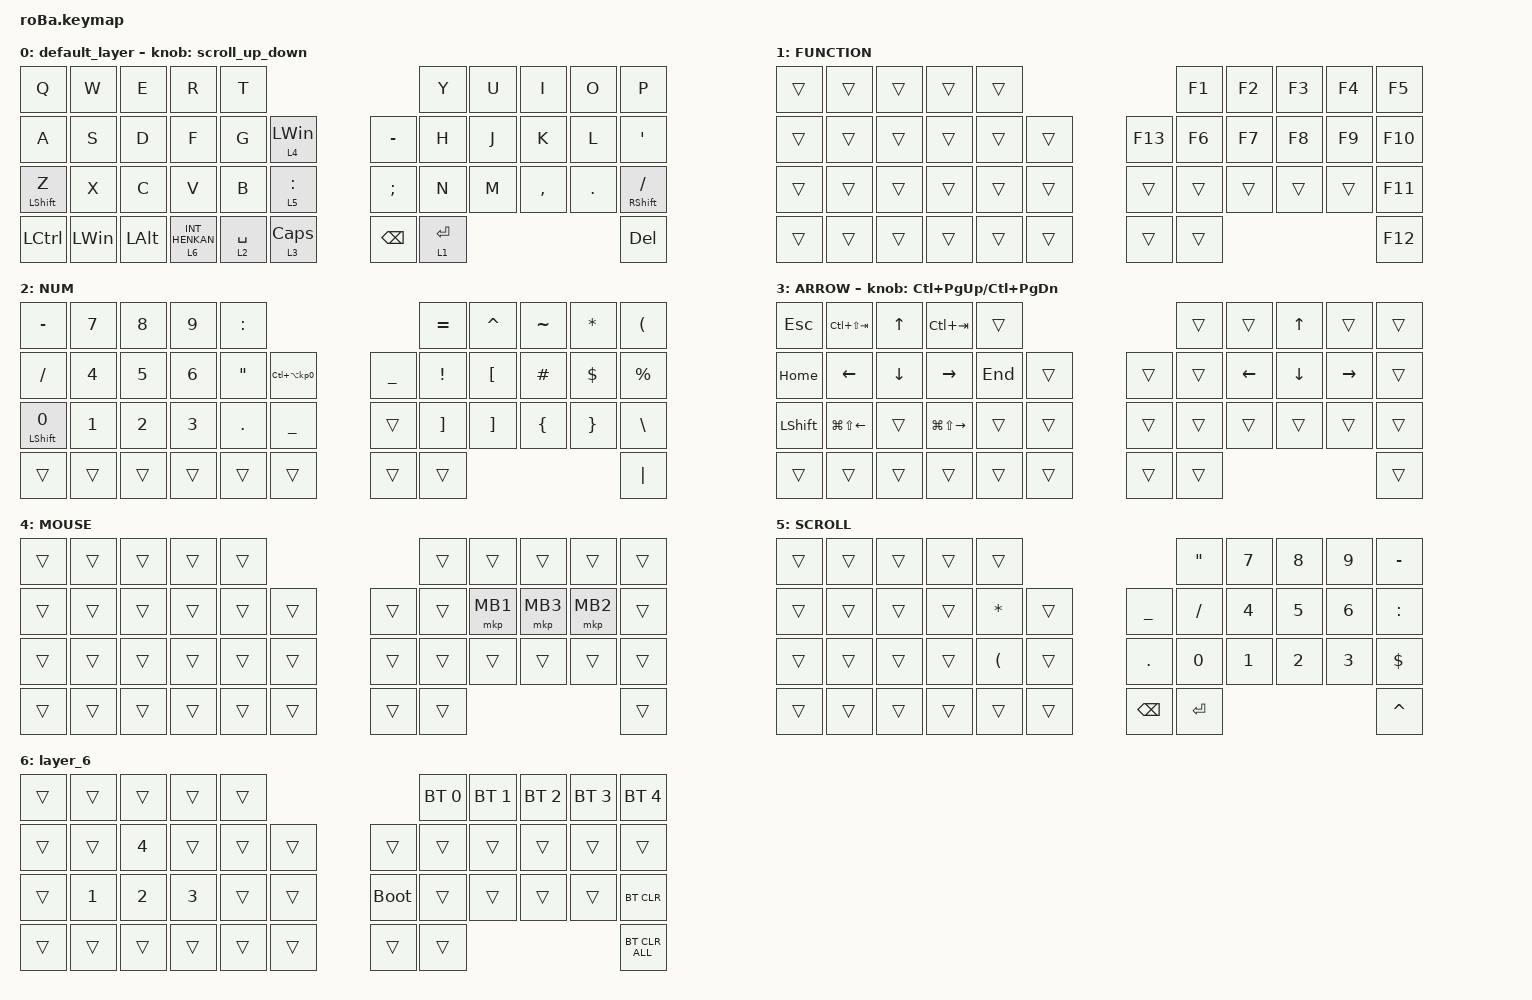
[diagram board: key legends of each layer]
#include <behaviors.dtsi>
#include <dt-bindings/zmk/bt.h>
#include <dt-bindings/zmk/keys.h>
#include <dt-bindings/zmk/pointing.h>

#define ZMK_POINTING_DEFAULT_SCRL_VAL 100
#define MOUSE 4
#define SCROLL 5
#define NUM 6

&mt {
    flavor = "balanced";
    quick-tap-ms = <0>;
};

/ {
    combos {
        compatible = "zmk,combos";

        tab {
            bindings = <&kp TAB>;
            key-positions = <11 12>;
        };

        shift_tab {
            bindings = <&kp LS(TAB)>;
            key-positions = <12 13>;
        };

        muhennkann {
            bindings = <&to_layer_0 INT_MUHENKAN>;
            key-positions = <11 10>;
        };

        double_quotation {
            bindings = <&kp DOUBLE_QUOTES>;
            key-positions = <20 21>;
        };

        eq {
            bindings = <&kp EQUAL>;
            key-positions = <24 25>;
        };
    };

    macros {
        to_layer_0: to_layer_0 {
            compatible = "zmk,behavior-macro-one-param";
            #binding-cells = <1>;
            bindings = <&to 0 &macro_param_1to1 &kp MACRO_PLACEHOLDER>;
            label = "TO_LAYER_0";
        };
    };

    behaviors {
        lt_to_layer_0: lt_to_layer_0 {
            compatible = "zmk,behavior-hold-tap";
            label = "LAYER_TAP_TO_0";
            bindings = <&mo>, <&to_layer_0>;

            #binding-cells = <2>;
            tapping-term-ms = <200>;
        };

        scroll_up_down: behavior_sensor_rotate_mouse_wheel_up_down {
            compatible = "zmk,behavior-sensor-rotate";
            #sensor-binding-cells = <0>;
            bindings = <&msc SCRL_UP>, <&msc SCRL_DOWN>;

            // 追加: スクロールのタップ時間を設定 (20ms)

            tap-ms = <20>;
        };
    };

    keymap {
        compatible = "zmk,keymap";

        default_layer {
            bindings = <
&kp Q             &kp W         &kp E         &kp R                        &kp T                                                      &kp Y        &kp U  &kp I      &kp O    &kp P
&kp A             &kp S         &kp D         &kp F                        &kp G        &lt 4 LWIN                     &kp MINUS      &kp H        &kp J  &kp K      &kp L    &kp SQT
&mt LEFT_SHIFT Z  &kp X         &kp C         &kp V                        &kp B        &lt 5 COLON                    &kp SEMICOLON  &kp N        &kp M  &kp COMMA  &kp DOT  &mt RSHFT SLASH
&kp LCTRL         &kp LEFT_WIN  &kp LEFT_ALT  &lt_to_layer_0 6 INT_HENKAN  &lt 2 SPACE  &lt_to_layer_0 3 CAPSLOCK      &kp BACKSPACE  &lt 1 ENTER                             &kp DEL
            >;

            sensor-bindings = <&scroll_up_down>;
        };

        FUNCTION {
            bindings = <
&trans  &trans  &trans  &trans  &trans                       &kp F1  &kp F2  &kp F3  &kp F4  &kp F5
&trans  &trans  &trans  &trans  &trans  &trans      &kp F13  &kp F6  &kp F7  &kp F8  &kp F9  &kp F10
&trans  &trans  &trans  &trans  &trans  &trans      &trans   &trans  &trans  &trans  &trans  &kp F11
&trans  &trans  &trans  &trans  &trans  &trans      &trans   &trans                          &kp F12
            >;
        };

        NUM {
            bindings = <
&kp MINUS                &kp N7        &kp NUMBER_8  &kp NUMBER_9  &kp COLON                                                       &kp EQUAL          &kp CARET          &kp TILDE       &kp ASTRK        &kp LEFT_PARENTHESIS
&kp SLASH                &kp NUMBER_4  &kp N5        &kp NUMBER_6  &kp DOUBLE_QUOTES  &kp LC(LA(KP_NUMBER_0))      &kp UNDERSCORE  &kp EXCLAMATION    &kp LEFT_BRACKET   &kp HASH        &kp DOLLAR       &kp PERCENT
&mt LEFT_SHIFT NUMBER_0  &kp NUMBER_1  &kp NUMBER_2  &kp NUMBER_3  &kp PERIOD         &kp UNDERSCORE               &trans          &kp RIGHT_BRACKET  &kp RIGHT_BRACKET  &kp LEFT_BRACE  &kp RIGHT_BRACE  &kp BACKSLASH
&trans                   &trans        &trans        &trans        &trans             &trans                       &trans          &trans                                                                 &kp PIPE
            >;
        };

        ARROW {
            bindings = <
&kp ESCAPE      &kp LC(LS(TAB))         &kp UP_ARROW    &kp LC(TAB)              &trans                       &trans  &trans    &kp UP_ARROW  &trans     &trans
&kp HOME        &kp LEFT_ARROW          &kp DOWN_ARROW  &kp RIGHT_ARROW          &kp END  &trans      &trans  &trans  &kp LEFT  &kp DOWN      &kp RIGHT  &trans
&kp LEFT_SHIFT  &kp LG(LS(LEFT_ARROW))  &trans          &kp LG(LS(RIGHT_ARROW))  &trans   &trans      &trans  &trans  &trans    &trans        &trans     &trans
&trans          &trans                  &trans          &trans                   &trans   &trans      &trans  &trans                                     &trans
            >;

            sensor-bindings = <&inc_dec_kp LC(PAGE_UP) LC(PAGE_DOWN)>;
        };

        MOUSE {
            bindings = <
&trans  &trans  &trans  &trans  &trans                      &trans  &trans    &trans    &trans    &trans
&trans  &trans  &trans  &trans  &trans  &trans      &trans  &trans  &mkp MB1  &mkp MB3  &mkp MB2  &trans
&trans  &trans  &trans  &trans  &trans  &trans      &trans  &trans  &trans    &trans    &trans    &trans
&trans  &trans  &trans  &trans  &trans  &trans      &trans  &trans                                &trans
            >;
        };

        SCROLL {
            bindings = <
&trans  &trans  &trans  &trans  &trans                                            &kp DOUBLE_QUOTES  &kp NUMBER_7  &kp NUMBER_8  &kp NUMBER_9  &kp MINUS
&trans  &trans  &trans  &trans  &kp ASTRK             &trans      &kp UNDERSCORE  &kp SLASH          &kp NUMBER_4  &kp NUMBER_5  &kp NUMBER_6  &kp COLON
&trans  &trans  &trans  &trans  &kp LEFT_PARENTHESIS  &trans      &kp PERIOD      &kp NUMBER_0       &kp NUMBER_1  &kp NUMBER_2  &kp NUMBER_3  &kp DOLLAR
&trans  &trans  &trans  &trans  &trans                &trans      &kp BACKSPACE   &kp ENTER                                                    &kp CARET
            >;
        };

        layer_6 {
            bindings = <
&trans  &trans        &trans        &trans        &trans                           &bt BT_SEL 0  &bt BT_SEL 1  &bt BT_SEL 2  &bt BT_SEL 3  &bt BT_SEL 4
&trans  &trans        &kp NUMBER_4  &trans        &trans  &trans      &trans       &trans        &trans        &trans        &trans        &trans
&trans  &kp NUMBER_1  &kp NUMBER_2  &kp NUMBER_3  &trans  &trans      &bootloader  &trans        &trans        &trans        &trans        &bt BT_CLR
&trans  &trans        &trans        &trans        &trans  &trans      &trans       &trans                                                  &bt BT_CLR_ALL
            >;
        };
    };
};
